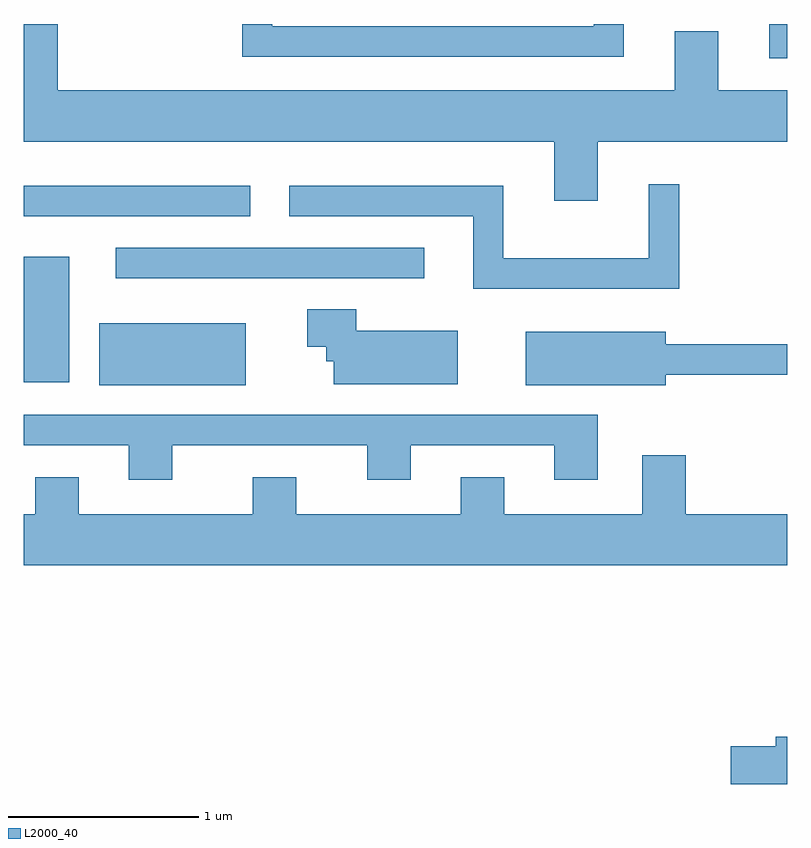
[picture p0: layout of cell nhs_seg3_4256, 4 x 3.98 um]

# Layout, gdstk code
import gdstk
lib = gdstk.Library(unit=1e-6, precision=1e-09)
def R(c, l, rs):  # rectangles x0, y0, x1, y1
    for r in rs: c.add(gdstk.rectangle(r[:2], r[2:], *l))
def P(c, l, *ps):  # polygons
    for p in ps: c.add(gdstk.Polygon(p, *l))
L2000_40 = (2000, 40)

nhs_seg3_4256 = lib.new_cell('nhs_seg3_4256')
R(nhs_seg3_4256, L2000_40, [(310.006,1198.001,310.774,1198.324), (309.611,1198.016,309.849,1198.674), (310.093,1198.561,311.708,1198.719), (309.611,1198.886,310.798,1199.044), (313.516,1199.713,313.611,1199.892)])
P(nhs_seg3_4256, L2000_40, [(312.619,1199.276),(313.611,1199.276),(313.611,1199.544),(313.249,1199.544),(313.249,1199.854),(313.021,1199.854),(313.021,1199.544),(309.789,1199.544),(309.789,1199.892),(309.611,1199.892),(309.611,1199.276),(312.391,1199.276),(312.391,1198.966),(312.619,1198.966)],
  [(312.754,1199.892),(312.596,1199.892),(312.596,1199.879),(310.914,1199.879),(310.914,1199.892),(310.756,1199.892),(310.756,1199.721),(312.754,1199.721)],
  [(313.044,1199.053),(312.886,1199.053),(312.886,1198.664),(312.124,1198.664),(312.124,1199.044),(311.003,1199.044),(311.003,1198.886),(311.966,1198.886),(311.966,1198.506),(313.044,1198.506)],
  [(311.884,1198.284),(311.354,1198.284),(311.354,1198.399),(311.096,1198.399),(311.096,1198.201),(311.196,1198.201),(311.196,1198.126),(311.236,1198.126),(311.236,1198.006),(311.884,1198.006)],
  [(312.974,1198.056),(313.611,1198.056),(313.611,1198.214),(312.974,1198.214),(312.974,1198.279),(312.241,1198.279),(312.241,1198.001),(312.974,1198.001)],
  [(310.389,1197.686),(311.411,1197.686),(311.411,1197.506),(311.639,1197.506),(311.639,1197.686),(312.391,1197.686),(312.391,1197.506),(312.619,1197.506),(312.619,1197.844),(309.611,1197.844),(309.611,1197.686),(310.161,1197.686),(310.161,1197.506),(310.389,1197.506)],
  [(313.611,1197.324),(313.079,1197.324),(313.079,1197.634),(312.851,1197.634),(312.851,1197.324),(312.129,1197.324),(312.129,1197.519),(311.901,1197.519),(311.901,1197.324),(311.039,1197.324),(311.039,1197.519),(310.811,1197.519),(310.811,1197.324),(309.899,1197.324),(309.899,1197.519),(309.671,1197.519),(309.671,1197.324),(309.611,1197.324),(309.611,1197.056),(313.611,1197.056)],
  [(313.611,1196.159),(313.551,1196.159),(313.551,1196.109),(313.316,1196.109),(313.316,1195.911),(313.611,1195.911)])

lib.write_gds('nhs_seg3_4256.gds')
